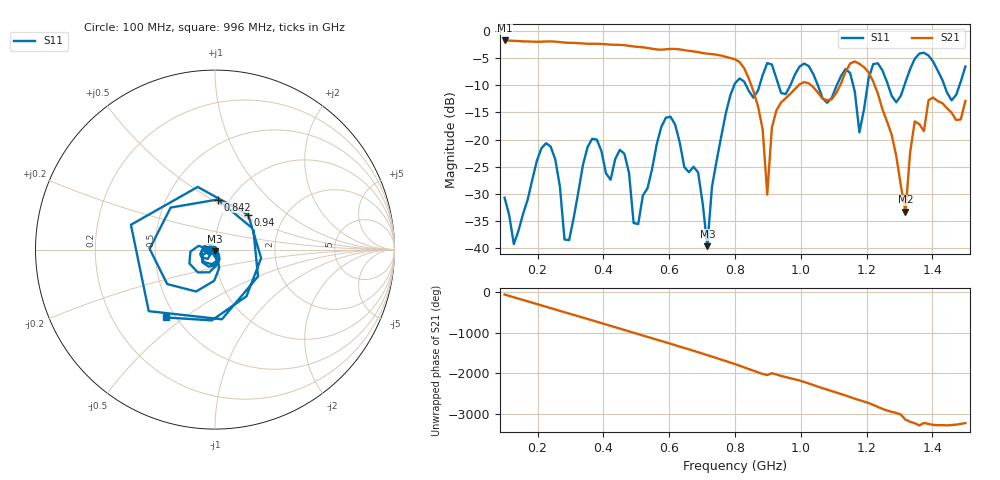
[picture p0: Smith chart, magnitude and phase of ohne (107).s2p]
! NanoVNA-App
! Date: 2025-09-25 17:39:07
! Start: 100MHz Stop: 1,5GHz Points: 101
! S-Parameter data: F S11 S21 S12 S22
# Hz S RI R 50
!  Frequency  S11_Real  S11_Imag  S21_Real  S21_Imag  S12_Real  S12_Imag  S22_Real  S22_Imag
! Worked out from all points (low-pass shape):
!   101 points, 100 MHz to 1.5 GHz, reference 50 ohm
!   highest |S21| = -1.80 dB at 100 MHz (marker M1); lowest = -33.3 dB at 1.318 GHz (marker M2)
!   |S21| within 3 dB of the highest: start of sweep to 771.3 MHz
!   lowest |S11| = -39.6 dB at 716 MHz (marker M3), VSWR 1.02, Z = 49.7 - j1.01 ohm
!   |S11| at or under -10 dB: start of sweep to 797.9 MHz; 833.2 MHz to 874.9 MHz (41.68 MHz wide, 4.88 % of centre); 1.052 GHz to 1.109 GHz (57.9 MHz wide, 5.36 % of centre)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
!   S12 and S22 are empty: the file has one direction only
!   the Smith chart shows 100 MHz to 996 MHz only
!   S11 on the Smith chart (normalised r, x): 100 MHz: 0.94, -0.01; 842 MHz: 0.88, +0.53; 940 MHz: 1.32, +0.55; 996 MHz: 0.44, -0.43
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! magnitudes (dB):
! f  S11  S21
! 100 MHz  -30.7  -1.8
! 128 MHz  -39.2  -1.9
! 226 MHz  -20.7  -2.0
! 296 MHz  -38.5  -2.2
! 338 MHz  -24.7  -2.3
! 464 MHz  -22.6  -2.7
! 506 MHz  -35.5  -3.0
! 576 MHz  -17.7  -3.5
! 688 MHz  -26.1  -3.9
! 716 MHz  -39.6  -4.2
! 800 MHz  -9.7  -5.3
! 842 MHz  -11.1  -8.8
! 898 MHz  -6.0  -30.1
! 940 MHz  -11.4  -13.2
! 996 MHz  -6.6  -9.9
! 1.038 GHz  -8.0  -10.4
! 1.178 GHz  -18.7  -6.1
! 1.22 GHz  -6.1  -9.3
! 1.276 GHz  -12.0  -19.1
! 1.318 GHz  -9.4  -33.3
! 1.346 GHz  -5.2  -16.7
! 1.5 GHz  -6.6  -12.9
